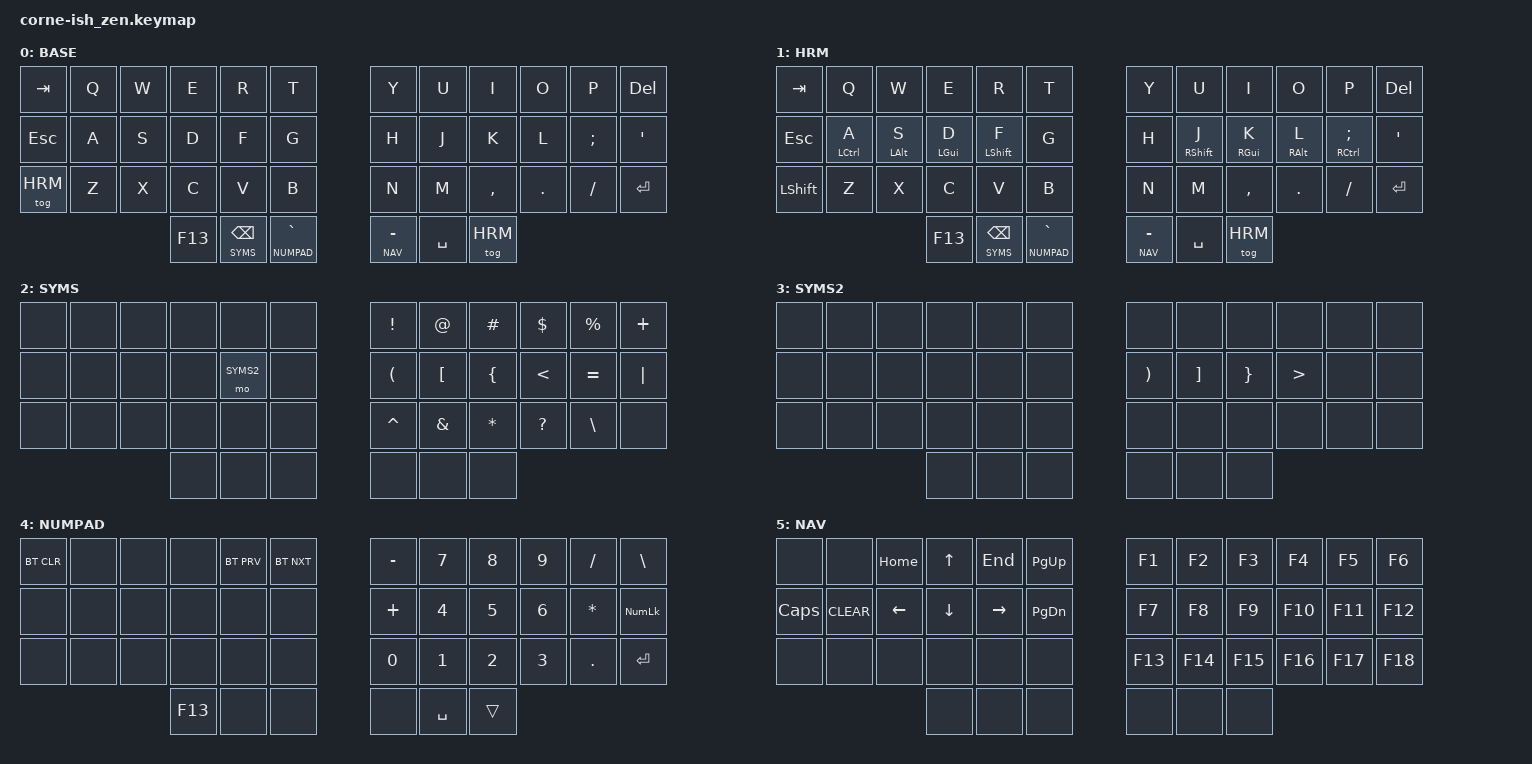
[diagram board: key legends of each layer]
/*
*
* Copyright (c) 2021 Darryl deHaan
* SPDX-License-Identifier: MIT
*
*/

#include <behaviors.dtsi>
#include <dt-bindings/zmk/keys.h>
//
//#include <dt-bindings/zmk/mouse.h>
#include <dt-bindings/zmk/bt.h>

#define BASE 0
#define HRM 1
#define SYMS 2
#define SYMS2 3
#define NUMPAD 4
#define NAV 5
/ {
  chosen {
    zmk,matrix_transform = &default_transform;
    //zmk,matrix_transform = &five_column_transform;
  };
};

/ {
        behaviors {
          hm: homerow_mods {
            compatible = "zmk,behavior-hold-tap";
            label = "ALPHA_MT";
            #binding-cells = <2>;
            tapping-term-ms = <250>;
            quick-tap-ms = <150>;
            flavor = "tap-preferred";
            bindings = <&kp>, <&kp>;
          };
        };
        keymap {
                compatible = "zmk,keymap";

                default_layer {
                        label = "BASE";
                        bindings = <
// ╭─────────────┬─────────────┬─────────────┬─────────────┬────────────┬─────────────╮   ╭─────────────┬─────────────┬─────────────┬─────────────┬─────────────┬─────────────╮
      &kp TAB       &kp Q          &kp W         &kp E         &kp R        &kp T              &kp Y       &kp U         &kp I           &kp O        &kp P        &kp DEL
// ├─────────────┼─────────────┼─────────────┼─────────────┼────────────┼─────────────┤   ├─────────────┼─────────────┼─────────────┼─────────────┼─────────────┼─────────────┤
      &kp ESC       &kp A          &kp S         &kp D         &kp F        &kp G              &kp H       &kp J         &kp K           &kp L        &kp SEMI     &kp SQT
// ├─────────────┼─────────────┼─────────────┼─────────────┼────────────┼─────────────┤   ├─────────────┼─────────────┼─────────────┼─────────────┼─────────────┼─────────────┤
     &tog HRM       &kp Z          &kp X         &kp C         &kp V        &kp B              &kp N       &kp M         &kp CMMA        &kp DOT      &kp FSLH     &kp ENTER
// ╰─────────────┴─────────────┴─────────────┼─────────────┼────────────┼─────────────┤   ├─────────────┼─────────────┼─────────────┴─────────────┴─────────────┴─────────────╯
                                                 &kp F13    &lt SYMS BKSP &lt NUMPAD GRAVE  &lt NAV MINUS  &kp SPC       &tog HRM
//                                           ╰─────────────┴────────────┴─────────────┤   ├─────────────┴─────────────┴─────────────╯ 
                        >;
                };

                hrm_layer {
                        label = "HRM";
                        bindings = <
// ╭─────────────┬─────────────┬─────────────┬─────────────┬────────────┬─────────────╮   ╭─────────────┬─────────────┬─────────────┬─────────────┬─────────────┬─────────────╮
      &kp TAB       &kp Q          &kp W         &kp E         &kp R        &kp T              &kp Y       &kp U         &kp I           &kp O        &kp P        &kp DEL
// ├─────────────┼─────────────┼─────────────┼─────────────┼────────────┼─────────────┤   ├─────────────┼─────────────┼─────────────┼─────────────┼─────────────┼─────────────┤
      &kp ESC      &hm LCTRL A   &hm LALT S    &hm LGUI D    &hm LSHFT F   &kp G               &kp H      &hm RSHFT J    &hm RGUI K     &hm RALT L   &hm RCTRL SEMI  &kp SQT
// ├─────────────┼─────────────┼─────────────┼─────────────┼────────────┼─────────────┤   ├─────────────┼─────────────┼─────────────┼─────────────┼─────────────┼─────────────┤
     &kp LSHFT      &kp Z          &kp X         &kp C         &kp V        &kp B              &kp N       &kp M         &kp CMMA       &kp DOT     &kp FSLH      &kp ENTER
// ╰─────────────┴─────────────┴─────────────┼─────────────┼────────────┼─────────────┤   ├─────────────┼─────────────┼─────────────┴─────────────┴─────────────┴─────────────╯
                                               &kp F13    &lt SYMS BKSP &lt NUMPAD GRAVE    &lt NAV MINUS  &kp SPC       &tog HRM
//                                            ╰────────────┴────────────┴─────────────┤   ├─────────────┴────────────┴─────────────╯ 
                        >;
                };

                syms_layer {
                        label = "SYMS";
                        bindings = <
// ╭─────────────┬─────────────┬─────────────┬─────────────┬────────────┬─────────────╮   ╭─────────────┬─────────────┬─────────────┬─────────────┬─────────────┬─────────────╮
      &none         &none         &none           &none         &none       &none             &kp EXCL     &kp AT        &kp HASH      &kp DLLR      &kp PRCNT     &kp PLUS
// ├─────────────┼─────────────┼─────────────┼─────────────┼────────────┼─────────────┤   ├─────────────┼─────────────┼─────────────┼─────────────┼─────────────┼─────────────┤
      &none         &none         &none           &none       &mo SYMS2     &none             &kp LPAR     &kp LBKT      &kp LBRC      &kp LT        &kp EQUAL     &kp PIPE
// ├─────────────┼─────────────┼─────────────┼─────────────┼────────────┼─────────────┤   ├─────────────┼─────────────┼─────────────┼─────────────┼─────────────┼─────────────┤
      &none         &none         &none           &none         &none       &none             &kp CARET    &kp AMPS      &kp STAR      &kp QMARK     &kp BSLH       &none
// ╰─────────────┴─────────────┴─────────────┼─────────────┼────────────┼─────────────┤   ├─────────────┼─────────────┼─────────────┴─────────────┴─────────────┴─────────────╯
                                                  &none         &none       &none              &none        &none       &none
//                                            ╰─────────────┴───────────┴─────────────┤   ├─────────────┴────────────┴─────────────╯ 
                        >;
                };

                syms2_layer {
                        label = "SYMS2";
                        bindings = <
// ╭─────────────┬─────────────┬─────────────┬─────────────┬────────────┬─────────────╮   ╭─────────────┬─────────────┬─────────────┬─────────────┬─────────────┬─────────────╮
      &none         &none         &none           &none         &none       &none             &none        &none          &none        &none         &none         &none
// ├─────────────┼─────────────┼─────────────┼─────────────┼────────────┼─────────────┤   ├─────────────┼─────────────┼─────────────┼─────────────┼─────────────┼─────────────┤
      &none         &none         &none           &none         &none       &none             &kp RPAR     &kp RBKT        &kp RBRC      &kp GT       &none         &none
// ├─────────────┼─────────────┼─────────────┼─────────────┼────────────┼─────────────┤   ├─────────────┼─────────────┼─────────────┼─────────────┼─────────────┼─────────────┤
      &none         &none         &none           &none         &none       &none             &none         &none          &none        &none         &none      &none
// ╰─────────────┴─────────────┴─────────────┼─────────────┼────────────┼─────────────┤   ├─────────────┼─────────────┼─────────────┴─────────────┴─────────────┴─────────────╯
                                                  &none         &none       &none              &none        &none       &none
//                                            ╰─────────────┴───────────┴─────────────┤   ├─────────────┴────────────┴─────────────╯ 
                        >;
                };

                numpad_layer {
                        label = "NUMPAD";
                        bindings = <
// ╭─────────────┬─────────────┬─────────────┬─────────────┬────────────┬─────────────╮   ╭─────────────┬─────────────┬─────────────┬─────────────┬─────────────┬─────────────╮
      &bt BT_CLR   &none         &none         &none         &bt BT_PRV   &bt BT_NXT         &kp MINUS    &kp N7         &kp N8         &kp N9      &kp FSLH      &kp BSLH
// ├─────────────┼─────────────┼─────────────┼─────────────┼────────────┼─────────────┤   ├─────────────┼─────────────┼─────────────┼─────────────┼─────────────┼─────────────┤
//      &none        &none         &mkp LCLK     &mkp RLCK     &none        &none            &kp PLUS     &kp N4         &kp N5         &kp N6      &kp STAR      &kp KP_NUM
      &none        &none         &none         &none           &none        &none            &kp PLUS     &kp N4         &kp N5         &kp N6      &kp STAR      &kp KP_NUM
// ├─────────────┼─────────────┼─────────────┼─────────────┼────────────┼─────────────┤   ├─────────────┼─────────────┼─────────────┼─────────────┼─────────────┼─────────────┤
      &none        &none         &none         &none         &none          &none              &kp N0       &kp N1         &kp N2         &kp N3      &kp DOT       &kp ENTER
// ╰─────────────┴─────────────┴─────────────┼─────────────┼────────────┼─────────────┤   ├─────────────┼─────────────┼─────────────┴─────────────┴─────────────┴─────────────╯
                                                  &kp F13     &none         &none              &none       &kp SPC       &trans
//                                            ╰─────────────┴───────────┴─────────────┤   ├─────────────┴────────────┴─────────────╯ 
                        >;
                };

                nav_layer {
                        label = "NAV";
                        bindings = <
// ╭─────────────┬─────────────┬─────────────┬─────────────┬────────────┬─────────────╮   ╭─────────────┬─────────────┬─────────────┬─────────────┬─────────────┬─────────────╮
      &none        &none         &kp HOME       &kp UP        &kp END      &kp PG_UP           &kp F1       &kp F2       &kp F3        &kp F4       &kp F5        &kp F6
// ├─────────────┼─────────────┼─────────────┼─────────────┼────────────┼─────────────┤   ├─────────────┼─────────────┼─────────────┼─────────────┼─────────────┼─────────────┤
      &kp CAPS     &kp CLEAR     &kp LEFT      &kp DOWN       &kp RIGHT    &kp PG_DN           &kp F7       &kp F8       &kp F9        &kp F10      &kp F11       &kp F12
// ├─────────────┼─────────────┼─────────────┼─────────────┼────────────┼─────────────┤   ├─────────────┼─────────────┼─────────────┼─────────────┼─────────────┼─────────────┤
      &none        &none         &none            &none       &none         &none              &kp F13      &kp F14      &kp F15       &kp F16      &kp F17       &kp F18
// ╰─────────────┴─────────────┴─────────────┼─────────────┼────────────┼─────────────┤   ├─────────────┼─────────────┼─────────────┴─────────────┴─────────────┴─────────────╯
                                                  &none       &none         &none              &none         &none       &none
//                                            ╰─────────────┴───────────┴─────────────┤   ├─────────────┴────────────┴─────────────╯ 
                        >;
                };

        };
};
